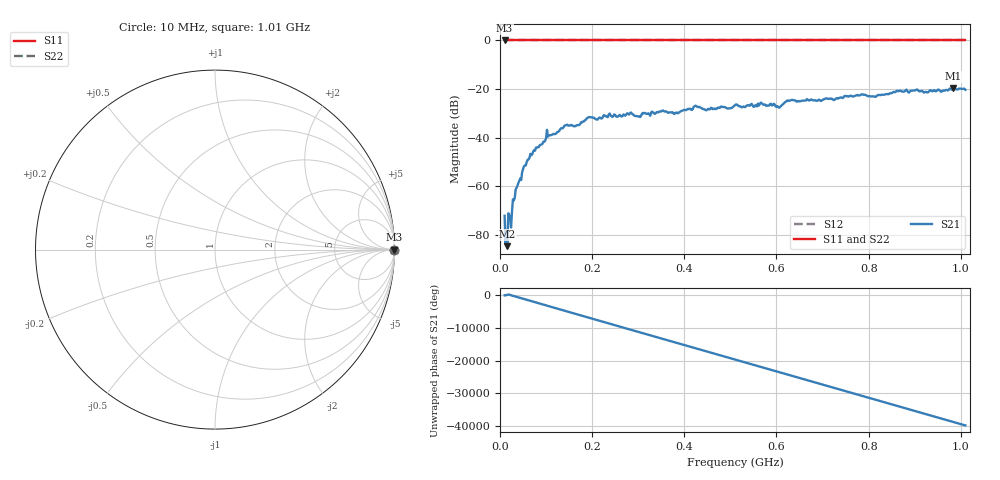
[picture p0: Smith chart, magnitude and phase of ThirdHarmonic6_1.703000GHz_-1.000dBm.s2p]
! 8/16/2025 8:28:32 PM
! C:\ANRITSUVNA\TEMP\TEMP.S2P
! CHANNEL.1
! TR.MEASUREMENT
! RAW.DATA
! RF.CORRECTION.OFF
! AVERAGING.OFF
! IF.BANDWIDTH: 5KHZ
! SWEEPTYPE:  FREQ.SWEEP(Linear)
! Reference Plane Port Info
! PORT:  PORT1  PORT2
! DISTANCE:  0  m  0  m
! TIME:  0  s  0  s
! PHASE.OFFSET:  0  deg.  0  deg.
! LOSS:  0  dB  0  dB
! REF.LOSS:  0  dB  0  dB
! REF.FREQ:  0  Hz  0  Hz
! Power Info
! POWER:  -20  dBm  -20  dBm
! EFF.POWER:  -20  dBm  -20  dBm
! SOURCE.ATTEN:  0  dB  0  dB
! TEST.ATTEN:  0  dB  0  dB
# GHZ S RI R 50.0
! FREQ.GHZ  S11RE  S11IM  S21RE  S21IM  S12RE  S12IM  S22RE  S22IM
!; PortSelection: Port_12
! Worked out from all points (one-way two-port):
!   501 points, 10 MHz to 1.01 GHz, reference 50 ohm
!   highest |S21| = -19.64 dB at 984 MHz (marker M1); lowest = -84.7 dB at 16 MHz (marker M2)
!   lowest |S11| = 0.0 dB at 10 MHz (marker M3)
!   |S11| at or under -10 dB: nowhere
!   |S22| runs from 0.0 to 0.0 dB; largest |S21 - S12| = 1.1
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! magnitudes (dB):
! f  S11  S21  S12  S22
! 10 MHz  0.0  -72.2  0.0  0.0
! 16 MHz  0.0  -84.7  0.0  0.0
! 26 MHz  0.0  -70.6  0.0  0.0
! 32 MHz  0.0  -64.9  0.0  0.0
! 38 MHz  0.0  -59.8  0.0  0.0
! 54 MHz  0.0  -51.5  0.0  0.0
! 70 MHz  0.0  -46.9  0.0  0.0
! 106 MHz  0.0  -39.1  0.0  0.0
! 178 MHz  0.0  -33.7  0.0  0.0
! 194 MHz  0.0  -31.5  0.0  0.0
! 280 MHz  0.0  -30.5  0.0  0.0
! 302 MHz  0.0  -31.3  0.0  0.0
! 344 MHz  0.0  -29.6  0.0  0.0
! 382 MHz  0.0  -29.7  0.0  0.0
! 424 MHz  0.0  -26.9  0.0  0.0
! 510 MHz  0.0  -26.6  0.0  0.0
! 604 MHz  0.0  -27.4  0.0  0.0
! 626 MHz  0.0  -24.9  0.0  0.0
! 678 MHz  0.0  -24.6  0.0  0.0
! 844 MHz  0.0  -22.0  0.0  0.0
! 984 MHz  0.0  -19.6  0.0  0.0
! 1.01 GHz  0.0  -20.3  0.0  0.0
